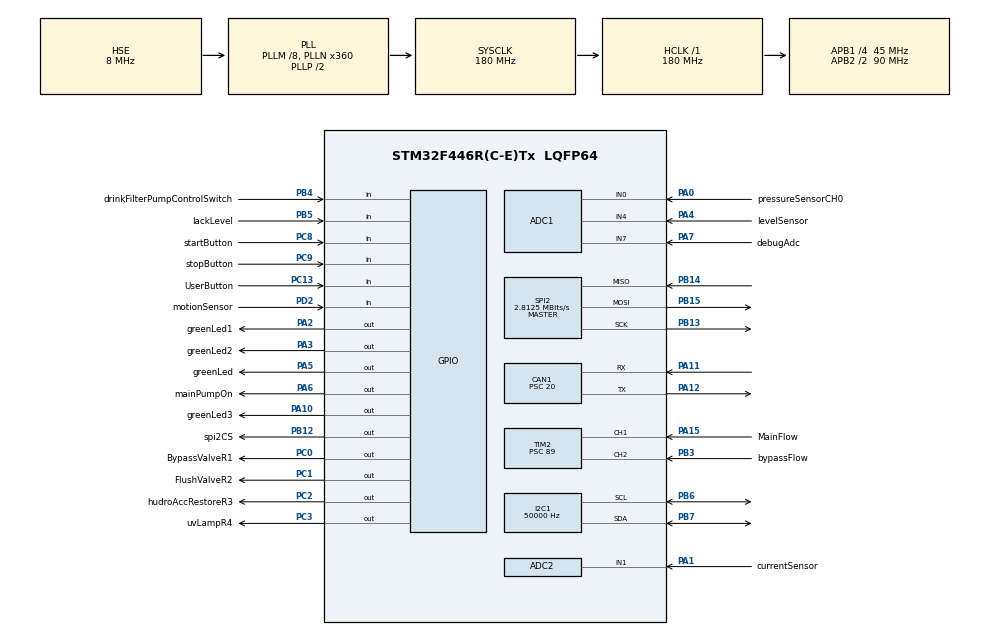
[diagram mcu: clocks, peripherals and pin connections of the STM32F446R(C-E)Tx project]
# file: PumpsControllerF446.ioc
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ADC1.Channel-0\#ChannelRegularConversion=ADC_CHANNEL_0
ADC1.Channel-1\#ChannelRegularConversion=ADC_CHANNEL_7
ADC1.Channel-3\#ChannelRegularConversion=ADC_CHANNEL_4
ADC1.ClockPrescaler=ADC_CLOCK_SYNC_PCLK_DIV8
ADC1.ContinuousConvMode=ENABLE
ADC1.DMAContinuousRequests=ENABLE
ADC1.EOCSelection=ADC_EOC_SEQ_CONV
ADC1.InjNumberOfConversion=0
ADC1.NbrOfConversion=3
ADC1.NbrOfConversionFlag=1
ADC1.Rank-0\#ChannelRegularConversion=1
ADC1.Rank-1\#ChannelRegularConversion=2
ADC1.Rank-3\#ChannelRegularConversion=3
ADC1.SamplingTime-0\#ChannelRegularConversion=ADC_SAMPLETIME_480CYCLES
ADC1.SamplingTime-1\#ChannelRegularConversion=ADC_SAMPLETIME_480CYCLES
ADC1.SamplingTime-3\#ChannelRegularConversion=ADC_SAMPLETIME_480CYCLES
ADC1.master=1
ADC2.Channel-1\#ChannelRegularConversion=ADC_CHANNEL_1
ADC2.ClockPrescaler=ADC_CLOCK_SYNC_PCLK_DIV8
ADC2.DMAContinuousRequests=ENABLE
ADC2.EOCSelection=ADC_EOC_SEQ_CONV
ADC2.EnableAnalogWatchDog=true
ADC2.NbrOfConversion=1
ADC2.NbrOfConversionFlag=1
ADC2.Rank-1\#ChannelRegularConversion=1
ADC2.SamplingTime-1\#ChannelRegularConversion=ADC_SAMPLETIME_480CYCLES
ADC2.ScanConvMode=ENABLE
ADC2.WatchdogChannel=ADC_CHANNEL_1
CAN1.ABOM=ENABLE
CAN1.AWUM=ENABLE
CAN1.BS1=CAN_BS1_15TQ
CAN1.BS2=CAN_BS2_2TQ
CAN1.CalculateBaudRate=125000
CAN1.CalculateTimeBit=8000
CAN1.CalculateTimeQuantum=444.44444444444446
CAN1.Mode=CAN_MODE_NORMAL
CAN1.NART=DISABLE
CAN1.Prescaler=20
CAN1.SJW=CAN_SJW_1TQ
CAN1.TXFP=DISABLE
Dma.ADC1.0.Direction=DMA_PERIPH_TO_MEMORY
Dma.ADC1.0.FIFOMode=DMA_FIFOMODE_DISABLE
Dma.ADC1.0.Instance=DMA2_Stream0
Dma.ADC1.0.MemDataAlignment=DMA_MDATAALIGN_HALFWORD
Dma.ADC1.0.MemInc=DMA_MINC_ENABLE
Dma.ADC1.0.Mode=DMA_CIRCULAR
Dma.ADC1.0.PeriphDataAlignment=DMA_PDATAALIGN_HALFWORD
Dma.ADC1.0.PeriphInc=DMA_PINC_DISABLE
Dma.ADC1.0.Priority=DMA_PRIORITY_LOW
Dma.ADC2.4.Direction=DMA_PERIPH_TO_MEMORY
Dma.ADC2.4.FIFOMode=DMA_FIFOMODE_DISABLE
Dma.ADC2.4.Instance=DMA2_Stream2
Dma.ADC2.4.MemDataAlignment=DMA_MDATAALIGN_HALFWORD
Dma.ADC2.4.MemInc=DMA_MINC_ENABLE
Dma.ADC2.4.Mode=DMA_CIRCULAR
Dma.ADC2.4.PeriphDataAlignment=DMA_PDATAALIGN_HALFWORD
Dma.ADC2.4.PeriphInc=DMA_PINC_DISABLE
Dma.ADC2.4.Priority=DMA_PRIORITY_LOW
Dma.I2C1_TX.3.Direction=DMA_MEMORY_TO_PERIPH
Dma.I2C1_TX.3.FIFOMode=DMA_FIFOMODE_DISABLE
Dma.I2C1_TX.3.Instance=DMA1_Stream6
Dma.I2C1_TX.3.MemDataAlignment=DMA_MDATAALIGN_BYTE
Dma.I2C1_TX.3.MemInc=DMA_MINC_ENABLE
Dma.I2C1_TX.3.Mode=DMA_NORMAL
Dma.I2C1_TX.3.PeriphDataAlignment=DMA_PDATAALIGN_BYTE
Dma.I2C1_TX.3.PeriphInc=DMA_PINC_DISABLE
Dma.I2C1_TX.3.Priority=DMA_PRIORITY_LOW
Dma.Request0=ADC1
Dma.Request1=SPI2_RX
Dma.Request2=SPI2_TX
Dma.Request3=I2C1_TX
Dma.Request4=ADC2
Dma.SPI2_RX.1.Direction=DMA_PERIPH_TO_MEMORY
Dma.SPI2_RX.1.FIFOMode=DMA_FIFOMODE_DISABLE
Dma.SPI2_RX.1.Instance=DMA1_Stream3
Dma.SPI2_RX.1.MemDataAlignment=DMA_MDATAALIGN_HALFWORD
Dma.SPI2_RX.1.MemInc=DMA_MINC_ENABLE
Dma.SPI2_RX.1.Mode=DMA_NORMAL
Dma.SPI2_RX.1.PeriphDataAlignment=DMA_PDATAALIGN_HALFWORD
Dma.SPI2_RX.1.PeriphInc=DMA_PINC_DISABLE
Dma.SPI2_RX.1.Priority=DMA_PRIORITY_LOW
Dma.SPI2_TX.2.Direction=DMA_MEMORY_TO_PERIPH
Dma.SPI2_TX.2.FIFOMode=DMA_FIFOMODE_DISABLE
Dma.SPI2_TX.2.Instance=DMA1_Stream4
Dma.SPI2_TX.2.MemDataAlignment=DMA_MDATAALIGN_HALFWORD
Dma.SPI2_TX.2.MemInc=DMA_MINC_ENABLE
Dma.SPI2_TX.2.Mode=DMA_NORMAL
Dma.SPI2_TX.2.PeriphDataAlignment=DMA_PDATAALIGN_HALFWORD
Dma.SPI2_TX.2.PeriphInc=DMA_PINC_DISABLE
Dma.SPI2_TX.2.Priority=DMA_PRIORITY_LOW
FREERTOS.Mutexes01=i2cMutex,Dynamic,NULL
FREERTOS.Tasks01=inputTask,24,128,inputStartTask,Default,NULL,Dynamic,NULL,NULL;lcdTask,24,256,LcdStartTask,Default,NULL,Dynamic,NULL,NULL;outputTask03,24,128,outputStartTask,Default,NULL,Dynamic,NULL,NULL;HydroAcc04,24,128,HydroAccStartTask04,Default,NULL,Dynamic,NULL,NULL
FREERTOS.Timers01=lcdBackLightTimer,lcdBackLightCallback,osTimerOnce,Default,NULL,Dynamic,NULL
FREERTOS.configCHECK_FOR_STACK_OVERFLOW=2
FREERTOS.configENABLE_FPU=1
I2C1.ClockSpeed=50000
I2C1.I2C_Mode=I2C_Standard
IWDG.Prescaler=IWDG_PRESCALER_32
Mcu.Family=STM32F4
Mcu.Name=STM32F446R(C-E)Tx
Mcu.Package=LQFP64
NVIC.ADC_IRQn=true\:5\:0\:false\:false\:true\:true\:true\:true
NVIC.CAN1_RX0_IRQn=true\:5\:0\:false\:false\:true\:true\:true\:true
NVIC.CAN1_RX1_IRQn=true\:5\:0\:false\:false\:true\:true\:true\:true
NVIC.CAN1_SCE_IRQn=true\:5\:0\:false\:false\:true\:true\:true\:true
NVIC.CAN1_TX_IRQn=true\:5\:0\:false\:false\:true\:true\:true\:true
NVIC.DMA1_Stream3_IRQn=true\:5\:0\:true\:false\:true\:true\:false\:true
NVIC.DMA1_Stream4_IRQn=true\:5\:0\:true\:false\:true\:true\:false\:true
NVIC.DMA1_Stream6_IRQn=true\:5\:0\:false\:false\:true\:true\:false\:true
NVIC.DMA2_Stream0_IRQn=true\:5\:0\:true\:false\:true\:true\:false\:true
NVIC.DMA2_Stream2_IRQn=true\:5\:0\:false\:false\:true\:true\:false\:true
NVIC.I2C1_ER_IRQn=true\:5\:0\:true\:false\:true\:true\:true\:true
NVIC.I2C1_EV_IRQn=true\:5\:0\:true\:false\:true\:true\:true\:true
NVIC.PriorityGroup=NVIC_PRIORITYGROUP_4
NVIC.TIM1_TRG_COM_TIM11_IRQn=true\:5\:0\:false\:false\:true\:true\:true\:true
NVIC.TIM1_UP_TIM10_IRQn=true\:5\:0\:false\:false\:true\:true\:true\:true
NVIC.TIM2_IRQn=true\:5\:0\:true\:false\:true\:true\:true\:true
NVIC.TIM6_DAC_IRQn=true\:0\:0\:false\:false\:true\:false\:false\:true
NVIC.TIM7_IRQn=true\:5\:0\:false\:false\:true\:true\:true\:true
NVIC.TimeBase=TIM6_DAC_IRQn
NVIC.TimeBaseIP=TIM6
PA0-WKUP.GPIO_Label=pressureSensorCH0
PA0-WKUP.Signal=ADCx_IN0
PA1.GPIO_Label=currentSensor
PA1.Signal=ADCx_IN1
PA10.GPIO_Label=greenLed3
PA10.GPIO_PuPd=GPIO_PULLUP
PA10.PinState=GPIO_PIN_SET
PA10.Signal=GPIO_Output
PA11.GPIO_PuPd=GPIO_NOPULL
PA11.GPIO_Speed=GPIO_SPEED_FREQ_VERY_HIGH
PA11.Mode=CAN_Activate
PA11.Signal=CAN1_RX
PA12.GPIO_PuPd=GPIO_NOPULL
PA12.Mode=CAN_Activate
PA12.Signal=CAN1_TX
PA13.Mode=Serial_Wire
PA13.Signal=SYS_JTMS-SWDIO
PA14.Mode=Serial_Wire
PA14.Signal=SYS_JTCK-SWCLK
PA15.GPIO_Label=MainFlow
PA15.GPIO_PuPd=GPIO_NOPULL
PA15.Signal=S_TIM2_CH1_ETR
PA2.GPIO_Label=greenLed1
PA2.GPIO_ModeDefaultOutputPP=GPIO_MODE_OUTPUT_PP
PA2.GPIO_PuPd=GPIO_PULLUP
PA2.PinState=GPIO_PIN_SET
PA2.Signal=GPIO_Output
PA3.GPIO_Label=greenLed2
PA3.GPIO_PuPd=GPIO_PULLUP
PA3.PinState=GPIO_PIN_SET
PA3.Signal=GPIO_Output
PA4.GPIO_Label=levelSensor
PA4.Signal=ADCx_IN4
PA5.GPIO_Label=greenLed
PA5.GPIO_PuPd=GPIO_PULLUP
PA5.Signal=GPIO_Output
PA6.GPIO_Label=mainPumpOn
PA6.GPIO_PuPd=GPIO_PULLUP
PA6.PinState=GPIO_PIN_SET
PA6.Signal=GPIO_Output
PA7.GPIO_Label=debugAdc
PA7.Signal=ADCx_IN7
PB12.GPIO_Label=spi2CS
PB12.GPIO_PuPd=GPIO_PULLUP
PB12.GPIO_Speed=GPIO_SPEED_FREQ_VERY_HIGH
PB12.PinState=GPIO_PIN_SET
PB12.Signal=GPIO_Output
PB13.GPIO_Speed=GPIO_SPEED_FREQ_VERY_HIGH
PB13.Mode=Full_Duplex_Master
PB13.Signal=SPI2_SCK
PB14.GPIO_PuPd=GPIO_PULLUP
PB14.GPIO_Speed=GPIO_SPEED_FREQ_VERY_HIGH
PB14.Mode=Full_Duplex_Master
PB14.Signal=SPI2_MISO
PB15.GPIO_PuPd=GPIO_NOPULL
PB15.GPIO_Speed=GPIO_SPEED_FREQ_VERY_HIGH
PB15.Mode=Full_Duplex_Master
PB15.Signal=SPI2_MOSI
PB3.GPIO_Label=bypassFlow
PB3.Signal=S_TIM2_CH2
PB4.GPIO_Label=drinkFilterPumpControlSwitch
PB4.GPIO_PuPd=GPIO_PULLUP
PB4.Signal=GPIO_Input
PB5.GPIO_Label=lackLevel
PB5.GPIO_PuPd=GPIO_PULLUP
PB5.Signal=GPIO_Input
PB6.GPIO_Pu=GPIO_PULLUP
PB6.GPIO_Speed=GPIO_SPEED_FREQ_MEDIUM
PB6.Mode=I2C
PB6.Signal=I2C1_SCL
PB7.GPIO_Pu=GPIO_PULLUP
PB7.GPIO_Speed=GPIO_SPEED_FREQ_MEDIUM
PB7.Mode=I2C
PB7.Signal=I2C1_SDA
PC0.GPIO_Label=BypassValveR1
PC0.GPIO_PuPd=GPIO_PULLUP
PC0.PinState=GPIO_PIN_SET
PC0.Signal=GPIO_Output
PC1.GPIO_Label=FlushValveR2
PC1.GPIO_PuPd=GPIO_PULLUP
PC1.PinState=GPIO_PIN_SET
PC1.Signal=GPIO_Output
PC13.GPIO_Label=UserButton
PC13.GPIO_PuPd=GPIO_PULLUP
PC13.Signal=GPIO_Input
PC2.GPIO_Label=hudroAccRestoreR3
PC2.GPIO_PuPd=GPIO_PULLUP
PC2.PinState=GPIO_PIN_SET
PC2.Signal=GPIO_Output
PC3.GPIO_Label=uvLampR4
PC3.GPIO_PuPd=GPIO_PULLUP
PC3.PinState=GPIO_PIN_SET
PC3.Signal=GPIO_Output
PC8.GPIO_Label=startButton
PC8.GPIO_PuPd=GPIO_PULLUP
PC8.Signal=GPIO_Input
PC9.GPIO_Label=stopButton
PC9.GPIO_PuPd=GPIO_PULLUP
PC9.Signal=GPIO_Input
PD2.GPIO_Label=motionSensor
PD2.GPIO_PuPd=GPIO_PULLDOWN
PD2.Signal=GPIO_Input
PH0-OSC_IN.Mode=HSE-External-Clock-Source
PH0-OSC_IN.Signal=RCC_OSC_IN
PH1-OSC_OUT.Mode=HSE-External-Clock-Source
PH1-OSC_OUT.Signal=RCC_OSC_OUT
ProjectManager.HeapSize=0x200
ProjectManager.StackSize=0x400
ProjectManager.TargetToolchain=STM32CubeIDE
RCC.AHBFreq_Value=180000000
RCC.APB1CLKDivider=RCC_HCLK_DIV4
RCC.APB1Freq_Value=45000000
RCC.APB1TimFreq_Value=90000000
RCC.APB2CLKDivider=RCC_HCLK_DIV2
RCC.APB2Freq_Value=90000000
RCC.APB2TimFreq_Value=180000000
RCC.CortexFreq_Value=180000000
RCC.HCLKFreq_Value=180000000
RCC.HSE_VALUE=8000000
RCC.PLLM=8
RCC.PLLN=360
RCC.PLLSourceVirtual=RCC_PLLSOURCE_HSE
RCC.SYSCLKFreq_VALUE=180000000
RCC.SYSCLKSource=RCC_SYSCLKSOURCE_PLLCLK
RCC.USBFreq_Value=180000000
RCC.VCOOutputFreq_Value=360000000
SH.ADCx_IN0.0=ADC1_IN0,IN0
SH.ADCx_IN1.0=ADC2_IN1,IN1
SH.ADCx_IN4.0=ADC1_IN4,IN4
SH.ADCx_IN7.0=ADC1_IN7,IN7
SH.S_TIM2_CH1_ETR.0=TIM2_CH1,Input_Capture1_from_TI1
SH.S_TIM2_CH2.0=TIM2_CH2,Input_Capture2_from_TI2
SPI2.BaudRatePrescaler=SPI_BAUDRATEPRESCALER_16
SPI2.CLKPolarity=SPI_POLARITY_HIGH
SPI2.CRCCalculation=SPI_CRCCALCULATION_ENABLE
SPI2.CRCPolynomial=X0+X1+X2
SPI2.CalculateBaudRate=2.8125 MBits/s
SPI2.DataSize=SPI_DATASIZE_16BIT
SPI2.Direction=SPI_DIRECTION_2LINES
SPI2.Mode=SPI_MODE_MASTER
SPI2.TIMode=SPI_TIMODE_DISABLE
SPI2.VirtualType=VM_MASTER
TIM10.AutoReloadPreload=TIM_AUTORELOAD_PRELOAD_ENABLE
TIM10.Period=7999
TIM10.Prescaler=149
TIM11.AutoReloadPreload=TIM_AUTORELOAD_PRELOAD_ENABLE
TIM11.Period=499
TIM11.Prescaler=2999
TIM2.Channel-Input_Capture1_from_TI1=TIM_CHANNEL_1
TIM2.Channel-Input_Capture2_from_TI2=TIM_CHANNEL_2
TIM2.ICFilter_CH1=2
TIM2.ICFilter_CH2=2
TIM2.Prescaler=89
TIM2.TIM_MasterOutputTrigger=TIM_TRGO_UPDATE
TIM7.AutoReloadPreload=TIM_AUTORELOAD_PRELOAD_ENABLE
TIM7.Period=59
TIM7.Prescaler=149
TIM7.TIM_MasterOutputTrigger=TIM_TRGO_UPDATE
VP_CRC_VS_CRC.Mode=CRC_Activate
VP_FREERTOS_VS_CMSIS_V2.Mode=CMSIS_V2
VP_IWDG_VS_IWDG.Mode=IWDG_Activate
VP_SYS_VS_tim6.Mode=TIM6
VP_TIM10_VS_ClockSourceINT.Mode=Enable_Timer
VP_TIM11_VS_ClockSourceINT.Mode=Enable_Timer
VP_TIM7_VS_ClockSourceINT.Mode=Enable_Timer
board=custom

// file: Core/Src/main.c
/* USER CODE BEGIN Header */
/**
  ******************************************************************************
  * @file           : main.c
  * @brief          : Main program body
  ******************************************************************************
  * @attention
  *
  * <h2><center>&copy; Copyright (c) 2021 STMicroelectronics.
  * All rights reserved.</center></h2>
  *
  * This software component is licensed by ST under BSD 3-Clause license,
  * the "License"; You may not use this file except in compliance with the
  * License. You may obtain a copy of the License at:
  *                        opensource.org/licenses/BSD-3-Clause
  *
  ******************************************************************************
  */
/* USER CODE END Header */
#include "main.h"
#include "cmsis_os.h"
#include "adc.h"
#include "can.h"
#include "crc.h"
#include "dma.h"
#include "i2c.h"
#include "iwdg.h"
#include "spi.h"
#include "tim.h"
#include "gpio.h"

void SystemClock_Config(void);
void MX_FREERTOS_Init(void);

int main(void)
{

  /* MCU Configuration--------------------------------------------------------*/

  /* Reset of all peripherals, Initializes the Flash interface and the Systick. */
  HAL_Init();

  /* Configure the system clock */
  SystemClock_Config();

  /* Initialize all configured peripherals */
  MX_GPIO_Init();
  MX_DMA_Init();
  MX_ADC1_Init();
  MX_I2C1_Init();
  MX_TIM2_Init();
  MX_CAN1_Init();
  MX_CRC_Init();
  MX_SPI2_Init();
  MX_ADC2_Init();
  MX_TIM7_Init();
  MX_TIM10_Init();
  MX_TIM11_Init();
  MX_IWDG_Init();

  /* Init scheduler */
  osKernelInitialize();  /* Call init function for freertos objects (in freertos.c) */
  MX_FREERTOS_Init();
  /* Start scheduler */
  osKernelStart();

  /* We should never get here as control is now taken by the scheduler */
  /* Infinite loop */
  while (1)
  {

  }
}

void SystemClock_Config(void)
{
  RCC_OscInitTypeDef RCC_OscInitStruct = {0};
  RCC_ClkInitTypeDef RCC_ClkInitStruct = {0};

  /** Configure the main internal regulator output voltage
  */
  __HAL_RCC_PWR_CLK_ENABLE();
  __HAL_PWR_VOLTAGESCALING_CONFIG(PWR_REGULATOR_VOLTAGE_SCALE1);
  /** Initializes the RCC Oscillators according to the specified parameters
  * in the RCC_OscInitTypeDef structure.
  */
  RCC_OscInitStruct.OscillatorType = RCC_OSCILLATORTYPE_LSI|RCC_OSCILLATORTYPE_HSE;
  RCC_OscInitStruct.HSEState = RCC_HSE_BYPASS;
  RCC_OscInitStruct.LSIState = RCC_LSI_ON;
  RCC_OscInitStruct.PLL.PLLState = RCC_PLL_ON;
  RCC_OscInitStruct.PLL.PLLSource = RCC_PLLSOURCE_HSE;
  RCC_OscInitStruct.PLL.PLLM = 8;
  RCC_OscInitStruct.PLL.PLLN = 360;
  RCC_OscInitStruct.PLL.PLLP = RCC_PLLP_DIV2;
  RCC_OscInitStruct.PLL.PLLQ = 2;
  RCC_OscInitStruct.PLL.PLLR = 2;
  if (HAL_RCC_OscConfig(&RCC_OscInitStruct) != HAL_OK)
  {
    Error_Handler();
  }
  /** Activate the Over-Drive mode
  */
  if (HAL_PWREx_EnableOverDrive() != HAL_OK)
  {
    Error_Handler();
  }
  /** Initializes the CPU, AHB and APB buses clocks
  */
  RCC_ClkInitStruct.ClockType = RCC_CLOCKTYPE_HCLK|RCC_CLOCKTYPE_SYSCLK
                              |RCC_CLOCKTYPE_PCLK1|RCC_CLOCKTYPE_PCLK2;
  RCC_ClkInitStruct.SYSCLKSource = RCC_SYSCLKSOURCE_PLLCLK;
  RCC_ClkInitStruct.AHBCLKDivider = RCC_SYSCLK_DIV1;
  RCC_ClkInitStruct.APB1CLKDivider = RCC_HCLK_DIV4;
  RCC_ClkInitStruct.APB2CLKDivider = RCC_HCLK_DIV2;

  if (HAL_RCC_ClockConfig(&RCC_ClkInitStruct, FLASH_LATENCY_5) != HAL_OK)
  {
    Error_Handler();
  }
}

 /**
  * @brief  Period elapsed callback in non blocking mode
  * @note   This function is called  when TIM6 interrupt took place, inside
  * HAL_TIM_IRQHandler(). It makes a direct call to HAL_IncTick() to increment
  * a global variable "uwTick" used as application time base.
  * @param  htim : TIM handle
  * @retval None
  */
void HAL_TIM_PeriodElapsedCallback(TIM_HandleTypeDef *htim)
{
  if (htim->Instance == TIM6) {
    HAL_IncTick();
  }
  /* USER CODE BEGIN Callback 1 */
  if(htim->Instance == TIM7){
	  tim7Callback();
  }else if(htim->Instance == TIM10){
	  tim10Flag=1;
  }else if(htim->Instance == TIM11){
	  tim11Flag=1;
  }
  /* USER CODE END Callback 1 */
}

void Error_Handler(void)
{
  /* USER CODE BEGIN Error_Handler_Debug */
  /* User can add his own implementation to report the HAL error return state */
  __disable_irq();
  while (1)
  {
	  HAL_GPIO_TogglePin(GPIOA,GPIO_PIN_3);
	  osDelay(250);

  }
  /* USER CODE END Error_Handler_Debug */
}

/************************ (C) COPYRIGHT STMicroelectronics *****END OF FILE****/

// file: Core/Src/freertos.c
/* USER CODE BEGIN Header */
/**
  ******************************************************************************
  * File Name          : freertos.c
  * Description        : Code for freertos applications
  ******************************************************************************
  * @attention
  *
  * <h2><center>&copy; Copyright (c) 2021 STMicroelectronics.
  * All rights reserved.</center></h2>
  *
  * This software component is licensed by ST under Ultimate Liberty license
  * SLA0044, the "License"; You may not use this file except in compliance with
  * the License. You may obtain a copy of the License at:
  *                             www.st.com/SLA0044
  *
  ******************************************************************************
  */
/* USER CODE END Header */

#include "FreeRTOS.h"
#include "task.h"
#include "main.h"
#include "cmsis_os.h"

/* Definitions for inputTask */
osThreadId_t inputTaskHandle;
const osThreadAttr_t inputTask_attributes = {
  .name = "inputTask",
  .stack_size = 128 * 4,
  .priority = (osPriority_t) osPriorityNormal,
};
/* Definitions for lcdTask */
osThreadId_t lcdTaskHandle;
const osThreadAttr_t lcdTask_attributes = {
  .name = "lcdTask",
  .stack_size = 256 * 4,
  .priority = (osPriority_t) osPriorityNormal,
};
/* Definitions for outputTask03 */
osThreadId_t outputTask03Handle;
const osThreadAttr_t outputTask03_attributes = {
  .name = "outputTask03",
  .stack_size = 128 * 4,
  .priority = (osPriority_t) osPriorityNormal,
};
/* Definitions for HydroAcc04 */
osThreadId_t HydroAcc04Handle;
const osThreadAttr_t HydroAcc04_attributes = {
  .name = "HydroAcc04",
  .stack_size = 128 * 4,
  .priority = (osPriority_t) osPriorityNormal,
};
/* Definitions for lcdBackLightTimer */
osTimerId_t lcdBackLightTimerHandle;
const osTimerAttr_t lcdBackLightTimer_attributes = {
  .name = "lcdBackLightTimer"
};
/* Definitions for i2cMutex */
osMutexId_t i2cMutexHandle;
const osMutexAttr_t i2cMutex_attributes = {
  .name = "i2cMutex"
};

void inputStartTask(void *argument);
void LcdStartTask(void *argument);
void outputStartTask(void *argument);
void HydroAccStartTask04(void *argument);
void lcdBackLightCallback(void *argument);

void MX_FREERTOS_Init(void); /* (MISRA C 2004 rule 8.1) */

/* Hook prototypes */
void vApplicationStackOverflowHook(xTaskHandle xTask, signed char *pcTaskName);

/* USER CODE BEGIN 4 */
void vApplicationStackOverflowHook(xTaskHandle xTask, signed char *pcTaskName)
{
   /* Run time stack overflow checking is performed if
   configCHECK_FOR_STACK_OVERFLOW is defined to 1 or 2. This hook function is
   called if a stack overflow is detected. */
}
/* USER CODE END 4 */

void MX_FREERTOS_Init(void) {
  /* Create the mutex(es) */
  /* creation of i2cMutex */
  i2cMutexHandle = osMutexNew(&i2cMutex_attributes);

  /* Create the timer(s) */
  /* creation of lcdBackLightTimer */
  lcdBackLightTimerHandle = osTimerNew(lcdBackLightCallback, osTimerOnce, NULL, &lcdBackLightTimer_attributes);

  /* Create the thread(s) */
  /* creation of inputTask */
  inputTaskHandle = osThreadNew(inputStartTask, NULL, &inputTask_attributes);

  /* creation of lcdTask */
  lcdTaskHandle = osThreadNew(LcdStartTask, NULL, &lcdTask_attributes);

  /* creation of outputTask03 */
  outputTask03Handle = osThreadNew(outputStartTask, NULL, &outputTask03_attributes);

  /* creation of HydroAcc04 */
  HydroAcc04Handle = osThreadNew(HydroAccStartTask04, NULL, &HydroAcc04_attributes);

}

void inputStartTask(void *argument)
{
  /* USER CODE BEGIN inputStartTask */
	     if(startTim7()!=HAL_OK){Error_Handler();}
	     if(startAdc2()!=HAL_OK){Error_Handler();}
		 if(startAdc1()!=HAL_OK){Error_Handler();}
		 //if(startTim2()!=HAL_OK){Error_Handler();}
		 if(startTim11()!=HAL_OK){Error_Handler();}
	     DS3231_Init(&hi2c1);

	    /* osMutexAcquire(i2cMutexHandle, osWaitForever); // try to acquire mutex
		// Здесь происходит защищенный доступ к ресурсу.
		 DS3231_SetTime(&rtc);
		 //Configure Alarm1
		 DS3231_ClearAlarm1();
		 DS3231_SetAlarm1(ALARM_MODE_ONCE_PER_SECOND, 0, 0, 0, 0);
		 DS3231_SetAlarm1(ALARM_MODE_SEC_MATCHED, 0, 0, 0, 30);
		 osDelay(10);
		 DS3231_GetTime(&rtc);
		 DS3231_ReadTemperature(&rtcTemp);
		 ReadRegister(DS3231_REG_STATUS, &regVal);
		    if(regVal & DS3231_STA_A1F)
		  {
		    regVal &= ~DS3231_STA_A1F;
		    WriteRegister(DS3231_REG_STATUS, regVal);
		  }
		// Отдаем "жетон".
		osMutexRelease(i2cMutexHandle);*/
		uint32_t uwTickOld=0;

  /* Infinite loop */
  for(;;)
  {

	  IwdgRefresh

	uint32_t tick = HAL_GetTick();

	if(abs(uwTickOld - tick)> ds3231TimeUpdateInterval){

	uwTickOld = tick;

    //HAL_GPIO_TogglePin(GPIOA,GPIO_PIN_5);

    osMutexAcquire(i2cMutexHandle, osWaitForever); // try to acquire mutex
	DS3231_GetTime(&rtc); //refresh timeDate  with ds3231TimeUpdateInterval in systicks
	osMutexRelease(i2cMutexHandle);
	lcdUpdateFlag=1;

	}

	uint8_t x = scanPorts();//scan inputs for changes

	if (x != 0) lcdUpdateFlag=1;

	scanAdc();
	//scanFlow();
	updateEstimatePeriod(); //update estimate flows period if new data was received
	if(tim11Flag){
		tim11Flag=0;
		//HAL_GPIO_TogglePin(GPIOA,GPIO_PIN_3);
		startSpi();
		spiValueFlag = 1;
		frequencyCalcCapturedVal(&frequences[0],split32BitNum(spiRead[4],spiRead[5]));
		frequencyCalcCapturedVal(&frequences[1],split32BitNum(spiRead[7],spiRead[8]));
	}

	//if(!spiFlag){startSpi();}

	//if(spiFlag){spiFlag=0;}
    //HAL_GPIO_TogglePin(GPIOA,GPIO_PIN_5);
	//scanAdc();

/*

	if(adcEnableFlag){

scanAdc();

	}
*/
	//HAL_GPIO_TogglePin(GPIOA,GPIO_PIN_5);

	getAC();
	checkCanFlags();
	osDelay(1);
  }
  /* USER CODE END inputStartTask */
}

void LcdStartTask(void *argument)
{
  /* USER CODE BEGIN LcdStartTask */

	osMutexAcquire(i2cMutexHandle, osWaitForever);
	LCD_ini();
	osMutexRelease(i2cMutexHandle);
	osTimerStart(lcdBackLightTimerHandle, 2000000);
	uint8_t BBin=0;
  /* Infinite loop */
  for(;;)
  {

	  IwdgRefresh
	  HAL_IWDG_Refresh(&hiwdg);
	  if (moveSensor || blueButton){LCD_onLed(); osTimerStart(lcdBackLightTimerHandle, 120000); } //time lcd backLight off

	  //taskENTER_CRITICAL( );
	  if(lcdUpdateFlag){
	  switch(screenNum){

	  case(0):{
		  sprintf(&window[0][0],(char*)formatsShort[0],rtc.Hour,rtc.Min,rtc.Sec,rtc.Date,rtc.Month,rtc.Year);
		  sprintf(&window[1][0],(char*)formatsShort[32],waterLevel);
		  sprintf(&window[2][0],(char*)formatsShort[31],pressure);//RxData[0]);
		  sprintf(&window[3][0],(char*)formatsShort[39],countWaterSpent);//33],mainPumpTemp);//ackLevelSwitch);//27currentVfd);//33mainPumpTemp);//[25]lackLevelSwitch,drinkWaterSw,mainPumpState);
		  spiSig=0;
		 // HAL_GPIO_TogglePin(GPIOA,GPIO_PIN_2);
		  //HAL_GPIO_TogglePin(GPIOA,GPIO_PIN_3);
		 // HAL_GPIO_TogglePin(GPIOA,GPIO_PIN_10);
		  break;
	  }

	  case(1):{
	  		  sprintf(&window[0][0],(char*)formatsShort[31],pressure);
	  		  sprintf(&window[1][0],(char*)formatsShort[29],mainFlow);
	  		  sprintf(&window[2][0],(char*)formatsShort[30],cycleFlow);//RxData[0]);
	  		  sprintf(&window[3][0],(char*)formatsShort[33],mainPumpTemp);//27currentVfd);//33mainPumpTemp);//[25]lackLevelSwitch,drinkWaterSw,mainPumpState);
	  		  break;
	  	  }
	  case(2):{
	  		  sprintf(&window[0][0],(char*)formatsShort[27],currentVfd);
	  		  sprintf(&window[1][0],(char*)formatsShort[25],lackLevelSwitch,drinkWaterSw,mainPumpState);
	  		  sprintf(&window[2][0],(char*)formatsShort[19],moveSensor,blueButton);//RxData[0]);
	  		  sprintf(&window[3][0],(char*)formatsShort[28],debugAdc);//27currentVfd);//33mainPumpTemp);//[25]lackLevelSwitch,drinkWaterSw,mainPumpState);
	  		  break;
	  	  }

	  }

	  IwdgRefresh
	  osMutexAcquire(i2cMutexHandle, osWaitForever); // try to acquire mutex

	       LCD_StringPos(&window[0][0],0,0);

	       LCD_StringPos(&window[1][0],0,1);

	       LCD_StringPos(&window[2][0],0,2);

	       LCD_StringPos(&window[3][0],0,3);

	  //lcdEnableFlag=0;
	  //adcEnableFlag =1;
	  //HAL_IWDG_Refresh(&hiwdg);

	  osMutexRelease(i2cMutexHandle);
	  lcdUpdateFlag=0;

	  }
      if(blueButton){BBin=1;}
      if(!blueButton && BBin){BBin = 0;screenNum++; }
	  if(screenNum>2){screenNum=0;}
	  IwdgRefresh
	  osDelay(1);

  }
  /* USER CODE END LcdStartTask */
}

void outputStartTask(void *argument)
{
  /* USER CODE BEGIN outputStartTask */
  HAL_TIM_Base_Start_IT(&htim10);
  runCan();
  //uint16_t mainPumpWorkTime =0;
  float kTemp =0;
  float countWaterSpentOld=0;
  float diffWs=0;
  uint8_t secOld=0;
  uint8_t minOld=0;
  //uint32_t timePumpWorkWithautMainFlow = 9000; // tim10 150 Gz * 60 sec
  //uint32_t x=0;
  //uint8_t correctionFlag=0;

  /* Infinite loop */
  for(;;)
  {
	//HAL_IWDG_Refresh(&hiwdg);
	  calcCore();
	  TxData[0] = rtc.Hour;
	  TxData[1] = rtc.Min;
	  TxData[2] = rtc.Sec;
	  TxData[3] = rtc.Date;
	  TxData[4] = rtc.DaysOfWeek;
	  TxData[5] = rtc.Month;
	  TxData[6] = rtc.Year;

	  if (rtc.Min != minOld){minOld=rtc.Min;  transmitCan(0x0378, TxData);}

	  diffWs = countWaterSpent-countWaterSpentOld;
	  if( diffWs>1 ) {countWaterSpentOld=countWaterSpent; transmitCanFloat(0x0350, diffWs, 0);} // send Water Spent

	  if (rtc.Sec - secOld >2 || secOld - rtc.Sec>2){secOld=rtc.Sec; transmitCanFloat(0x0550,3.14,0);}// level Request

	  //transmitCan(0x0378, TxData);
	 //if(blueButton){mainPumpState=1;}else{mainPumpState=0;}

	  //HAL_GPIO_WritePin(GPIOA, GPIO_PIN_6,GPIO_PIN_RESET );
////////////////////////////////////////////////////////////////////

	 if (rtc.Hour == 20 || rtc.Hour == 10) {UVLampOn;}  // UV lalmp  from 10 to 12 and 20 to 22 Relay3
	 if (rtc.Hour == 22 || rtc.Hour == 12) {UVLampOff;}

	 //////////////////////////////check pressure on pressure accumulator/////////////////////////////

	 if(tim10Flag ==1){
		 HAL_GPIO_TogglePin(GPIOA,GPIO_PIN_3);
		 tim10Flag=0;
		 //correctionFlag =0;

		 kTemp = kTemp - (kTemp*0.000001);// decrease temp from time

		 //
		 if( mainPumpState || mainFlow!=0){
			 float sumFlows = mainFlow+cycleFlow;
			 float s = (10 - sumFlows)*0.001;

			 float k =  kTemp + (s);
			 k=k>200?200:k;
			 k=k<0?0:k;
			 kTemp = k; // increase decrease relatively flows
		 }
		 mainPumpTemp = kTemp + 16; //surrond shift;
		 if(mainPumpTemp>75){bypassValveOpen;}
		 if(mainPumpTemp<18){bypassValveClose;}
		 //if(mainPumpTemp>80){setPosition(1); correctionFlag =1;}
		 //if (mainPumpState && mainFlow < 0.1) {

			 //x++;
			 //if(x>=timePumpWorkWithautMainFlow){setPosition(1); osDelay(6000);x=0;}

			// }

	 }
//if(startButtonV){flushValveOpen;}
//if(stopButtonV){flushValveClose;}
	 //if(waterLevelFlag){connectVfdGroundOn;}else{connectVfdGroundOff;};
	 //setPosition(1);
	 //if(waterLevelFlag){if(!correctionFlag){setPosition(pressure);}}else{setPosition(1);} // check if low water level, set max pressure to stop pump
	 //if(waterLevelFlag && drinkWaterSw){drinkWaterPumpOn;}else{drinkWaterPumpOff;} // disable the drink water pump if low water level
	 //if(waterLevelFlag) {setPosition(pressure);}else{setPosition(1);}
IwdgRefresh

/////////////////////////////////////////////

	 //if(mainPumpState !=0){

		 //mainPumpWorkTime++;
		 //mainPumpTemp = mainPumpTemp + (10-mainFlow)*

		// if(mainFlow < 8 && mainFlow > 0){bypassValveOpen;}else{bypassValveClose;}
	// }else{mainPumpWorkTime =0;}
//drinkWaterPumpOn;
//if (blueButton) {bypassValveOpen;}else{bypassValveClose;}
//UVLampOn;
//reservOn;

  //HAL_GPIO_WritePin(GPIOC, GPIO_PIN_0,GPIO_PIN_RESET );
  //HAL_GPIO_WritePin(GPIOC, GPIO_PIN_1,GPIO_PIN_RESET );
  //HAL_GPIO_WritePin(GPIOC, GPIO_PIN_2,GPIO_PIN_RESET );
  //HAL_GPIO_WritePin(GPIOC, GPIO_PIN_3,GPIO_PIN_RESET );

	  osDelay(1);

	  //if(ampPer>70) {HAL_GPIO_WritePin(GPIOA, GPIO_PIN_6,GPIO_PIN_RESET );}else{HAL_GPIO_WritePin(GPIOA, GPIO_PIN_6,GPIO_PIN_SET );}
	  //HAL_GPIO_WritePin(GPIOA, GPIO_PIN_6,GPIO_PIN_RESET );
  }
  /* USER CODE END outputStartTask */
}

void HydroAccStartTask04(void *argument)
{
  /* USER CODE BEGIN HydroAccStartTask04 */
  uint8_t beginRestore =0;
  uint32_t restoreTime =10000;
  uint32_t restoreElapsedTime =0;
  uint8_t button = 0;
  uint8_t start=0;
  uint8_t corrFlag=0;
  uint8_t hydroRestoreFlag =0;
  uint8_t flushFlag =0;
  uint32_t flushElapsedTime =0;
	/* Infinite loop */
  for(;;)
  {

	  if(rtc.Hour==0){hydroRestoreFlag =0;flushFlag =0;} ////reset flags///
	  /////////////////////////////////////////////////////////////////////Discharge of stagnant water from a end line /////////////////
	  if(rtc.Hour ==1 && rtc.Min==1 && flushElapsedTime==0 && flushFlag ==0){
		  flushFlag=1;
		  flushElapsedTime = 12000;
		  flushValveOpen;

	  }
	  if(flushElapsedTime<=0){flushValveClose;}else{flushElapsedTime--;}

	  ///////////////////////////////////////////////////////////Restoration of the initial air pressure in the accumulator///////////////////////////////////////////////////////// resore Hudro////////////////////////////////////////////////
	  if ((rtc.DaysOfWeek == 2 || rtc.DaysOfWeek == 5) && rtc.Hour == 1 && rtc.Min ==2 && hydroRestoreFlag ==0 && restoreElapsedTime ==0){
		  hydroRestoreFlag =1;
		  restoreElapsedTime =30000;
		  hydroAccRestoreOpen;

	  }
	  if(restoreElapsedTime<=0){hydroAccRestoreClose;}else{restoreElapsedTime--;}

	  //if(startButtonV){flushValveOpen;}
	  //if(stopButtonV){flushValveClose;}
	  //if(startButtonV){if (button==0){button=1;}}
	  //if(stopButtonV){flushValveClose;beginRestore=0;dacCorrectFlag=0;}

	  //if(startButtonV){button=1;}
	  //if(!startButtonV && button){button = 0; start =1;}

	  	 // if(startButtonV){hydroAccRestoreOpen;}else{hydroAccRestoreClose;}
	  	  //if(stopButtonV){flushValveOpen;}else{flushValveClose;}

	  	  //if(stopButtonV){UVLampOn;}else{UVLampOff;}

	    // if (rtc.Hour == 0) {restoreAccumFlag = 0;}
	 	 //if ((!restoreAccumFlag && !mainPumpState && pressure>0.3 && rtc.Hour == 1 && rtc.Min == 0) || start) // Restore air pressure on hydroaccumulator
	 	// {

	 		 //flushValveOpen;
	 		 /////////////////////////////////////////////////old procedure////////////////////////
					// start=0;
					// beginRestore =1;
				    //elapsedTime = restoreTimeAfterPressureDown05;
					//restoreAccumFlag=1;
	 		 //////////////////////////////////////////////////////////////////////////////////////

	 	// }

	 	/* if(beginRestore && spiSigAcc)
	 	 {

	 		 HAL_GPIO_TogglePin(GPIOA,GPIO_PIN_10);

	 	     dacCorrectFlag=200;

	 			 //HAL_GPIO_WritePin(GPIOA,GPIO_PIN_10,GPIO_PIN_SET);

	 			 //HAL_GPIO_WritePin(GPIOA,GPIO_PIN_10,GPIO_PIN_RESET);

	 		 dacCorrectValue =4095;
	 		 spiSigAcc =0;
	 		 flushValveOpen;
	 	 }

	 	 if (pressure < 0.2 && elapsedTime>0 && beginRestore)
	 	 {
	 		elapsedTime--;

	 	 }else if (pressure < 0.2 && elapsedTime<=0 && beginRestore)
	 	 {
	 		 beginRestore =0;
	 		 flushValveClose;
	 		 dacCorrectFlag=0;
	 	 }*/

	  osDelay(1);
  }
  /* USER CODE END HydroAccStartTask04 */
}

/* lcdBackLightCallback function */
void lcdBackLightCallback(void *argument)
{
  /* USER CODE BEGIN lcdBackLightCallback */
	if (LCD_getBackLightState()){LCD_offLed();screenNum=0;} /////////////////////////////////////// LCD OFF Backlight /////////////////////////////////////
  /* USER CODE END lcdBackLightCallback */
}

/************************ (C) COPYRIGHT STMicroelectronics *****END OF FILE****/
